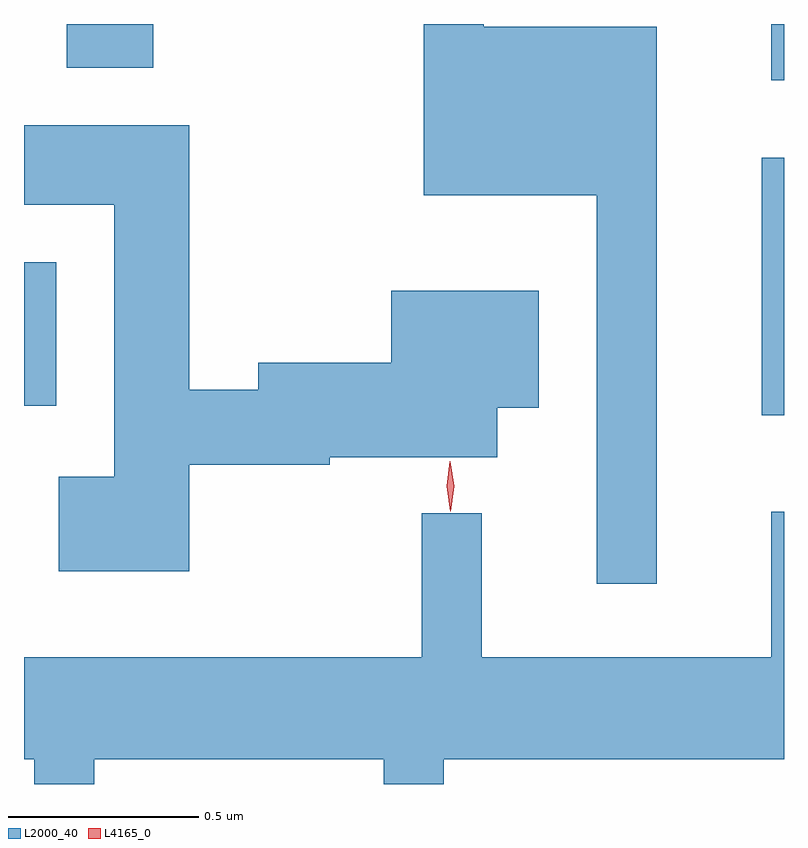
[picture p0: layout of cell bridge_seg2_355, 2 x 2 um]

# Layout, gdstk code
import gdstk
lib = gdstk.Library(unit=1e-6, precision=1e-09)
def R(c, l, rs):  # rectangles x0, y0, x1, y1
    for r in rs: c.add(gdstk.rectangle(r[:2], r[2:], *l))
def P(c, l, *ps):  # polygons
    for p in ps: c.add(gdstk.Polygon(p, *l))
L2000_40 = (2000, 40)
L4165_0 = (4165, 0)

bridge_seg2_355 = lib.new_cell('bridge_seg2_355')
R(bridge_seg2_355, L2000_40, [(420.501,984.841,420.559,985.519), (418.559,984.866,418.644,985.244), (420.526,985.723,420.559,985.871), (418.671,985.756,418.899,985.871)])
P(bridge_seg2_355, L2000_40, [(420.224,985.864),(419.769,985.864),(419.769,985.871),(419.611,985.871),(419.611,985.421),(420.066,985.421),(420.066,984.398),(420.224,984.398)],
  [(418.994,984.711),(419.364,984.711),(419.364,984.731),(419.804,984.731),(419.804,984.861),(419.914,984.861),(419.914,985.169),(419.526,985.169),(419.526,984.979),(419.176,984.979),(419.176,984.909),(418.994,984.909),(418.994,985.604),(418.559,985.604),(418.559,985.396),(418.796,985.396),(418.796,984.679),(418.651,984.679),(418.651,984.431),(418.994,984.431)],
  [(418.744,983.936),(419.506,983.936),(419.506,983.871),(419.664,983.871),(419.664,983.936),(420.559,983.936),(420.559,984.588),(420.526,984.588),(420.526,984.204),(419.764,984.204),(419.764,984.583),(419.606,984.583),(419.606,984.204),(418.559,984.204),(418.559,983.936),(418.586,983.936),(418.586,983.871),(418.744,983.871)])
P(bridge_seg2_355, L4165_0, [(419.681,984.589),(419.671,984.655),(419.68,984.72),(419.68,984.721),(419.681,984.72),(419.691,984.655),(419.682,984.589),(419.682,984.589)])

lib.write_gds('bridge_seg2_355.gds')
